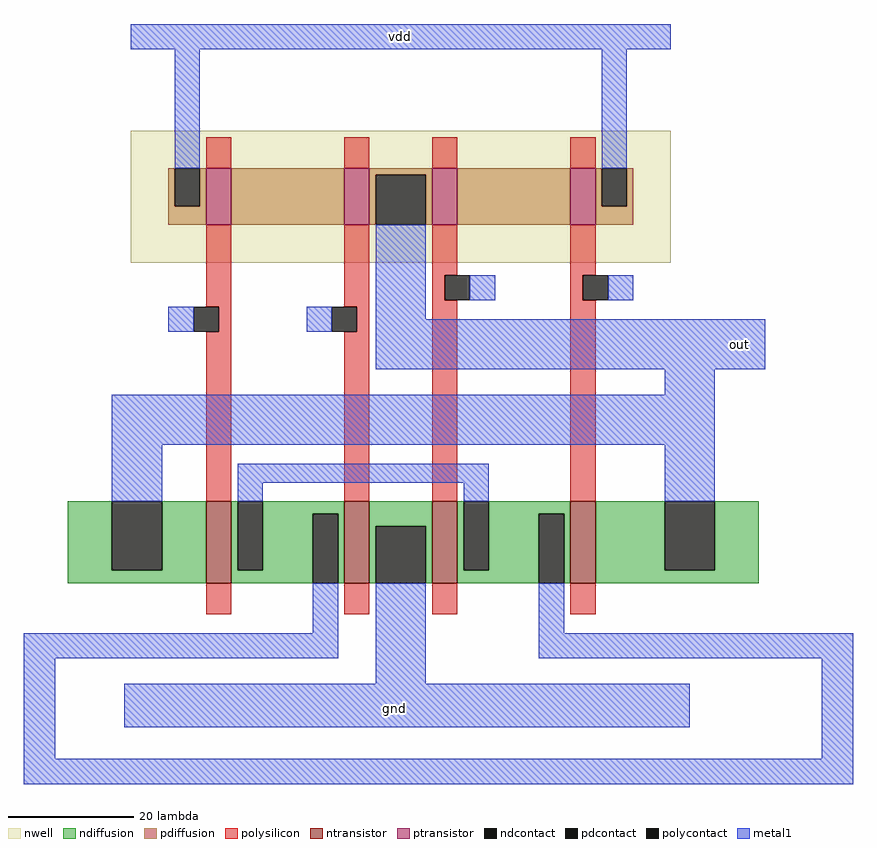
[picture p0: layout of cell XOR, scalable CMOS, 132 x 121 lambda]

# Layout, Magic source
magic
tech scmos
<< nwell >>
rect -57 -3 29 18
<< ntransistor >>
rect -45 -54 -41 -41
rect -23 -54 -19 -41
rect -9 -54 -5 -41
rect 13 -54 17 -41
<< ptransistor >>
rect -45 3 -41 12
rect -23 3 -19 12
rect -9 3 -5 12
rect 13 3 17 12
<< ndiffusion >>
rect -67 -52 -60 -41
rect -52 -52 -45 -41
rect -67 -54 -45 -52
rect -41 -52 -40 -41
rect -36 -43 -23 -41
rect -36 -52 -28 -43
rect -41 -54 -28 -52
rect -24 -54 -23 -43
rect -19 -45 -9 -41
rect -19 -54 -18 -45
rect -10 -54 -9 -45
rect -5 -52 -4 -41
rect 0 -43 13 -41
rect 0 -52 8 -43
rect -5 -54 8 -52
rect 12 -54 13 -43
rect 17 -52 28 -41
rect 36 -52 43 -41
rect 17 -54 43 -52
<< pdiffusion >>
rect -51 6 -50 12
rect -46 6 -45 12
rect -51 3 -45 6
rect -41 3 -23 12
rect -19 11 -9 12
rect -19 3 -18 11
rect -10 3 -9 11
rect -5 3 13 12
rect 17 6 18 12
rect 22 6 23 12
rect 17 3 23 6
<< ndcontact >>
rect -60 -52 -52 -41
rect -40 -52 -36 -41
rect -28 -54 -24 -43
rect -18 -54 -10 -45
rect -4 -52 0 -41
rect 8 -54 12 -43
rect 28 -52 36 -41
<< pdcontact >>
rect -50 6 -46 12
rect -18 3 -10 11
rect 18 6 22 12
<< polysilicon >>
rect -45 12 -41 17
rect -23 12 -19 17
rect -9 12 -5 17
rect 13 12 17 17
rect -45 -10 -41 3
rect -23 -10 -19 3
rect -43 -14 -41 -10
rect -21 -14 -19 -10
rect -45 -41 -41 -14
rect -23 -41 -19 -14
rect -9 -5 -5 3
rect 13 -5 17 3
rect -9 -9 -7 -5
rect 13 -9 15 -5
rect -9 -41 -5 -9
rect 13 -41 17 -9
rect -45 -59 -41 -54
rect -23 -59 -19 -54
rect -9 -59 -5 -54
rect 13 -59 17 -54
<< polycontact >>
rect -47 -14 -43 -10
rect -25 -14 -21 -10
rect -7 -9 -3 -5
rect 15 -9 19 -5
<< metal1 >>
rect -57 31 29 35
rect -50 12 -46 31
rect 18 12 22 31
rect -51 -14 -47 -10
rect -29 -14 -25 -10
rect -18 -12 -10 3
rect -3 -9 1 -5
rect 19 -9 23 -5
rect -18 -20 44 -12
rect 28 -24 36 -20
rect -60 -32 36 -24
rect -60 -41 -52 -32
rect -40 -38 0 -35
rect -40 -41 -36 -38
rect -4 -41 0 -38
rect -28 -62 -24 -54
rect -74 -66 -24 -62
rect 28 -41 36 -32
rect -74 -82 -69 -66
rect -18 -70 -10 -54
rect 8 -62 12 -54
rect 8 -66 58 -62
rect -58 -77 32 -70
rect 53 -82 58 -66
rect -74 -86 58 -82
<< labels >>
rlabel metal1 36 -20 44 -12 1 out
rlabel metal1 -15 -74 -15 -74 1 gnd
rlabel metal1 -14 33 -14 33 5 vdd
<< end >>
